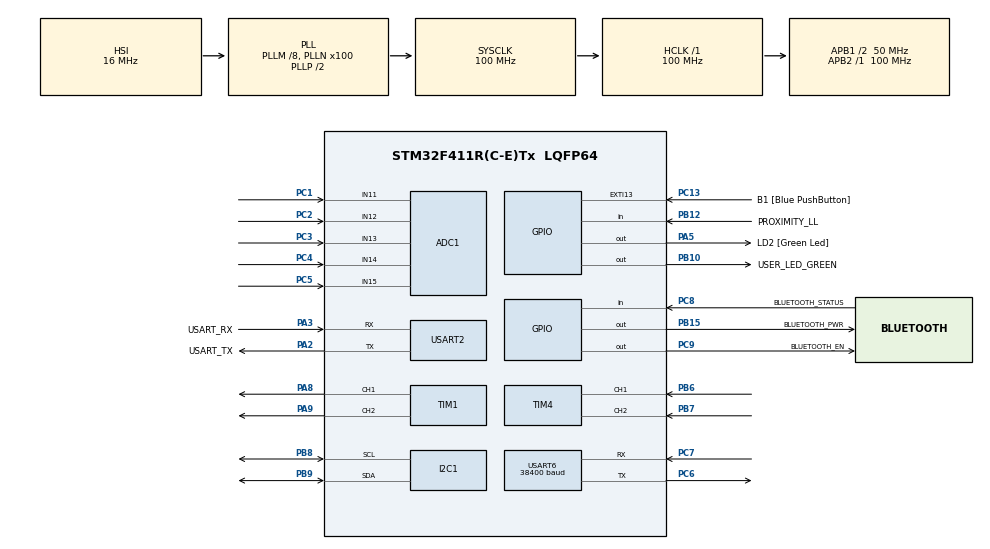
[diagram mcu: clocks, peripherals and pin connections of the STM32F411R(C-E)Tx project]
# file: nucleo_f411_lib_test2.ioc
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ADC1.Channel-0\#ChannelRegularConversion=ADC_CHANNEL_11
ADC1.Channel-1\#ChannelRegularConversion=ADC_CHANNEL_12
ADC1.Channel-2\#ChannelRegularConversion=ADC_CHANNEL_13
ADC1.Channel-3\#ChannelRegularConversion=ADC_CHANNEL_14
ADC1.Channel-4\#ChannelRegularConversion=ADC_CHANNEL_15
ADC1.Channel-5\#ChannelRegularConversion=ADC_CHANNEL_TEMPSENSOR
ADC1.ContinuousConvMode=ENABLE
ADC1.DMAContinuousRequests=ENABLE
ADC1.NbrOfConversion=6
ADC1.NbrOfConversionFlag=1
ADC1.Rank-0\#ChannelRegularConversion=1
ADC1.Rank-1\#ChannelRegularConversion=2
ADC1.Rank-2\#ChannelRegularConversion=3
ADC1.Rank-3\#ChannelRegularConversion=4
ADC1.Rank-4\#ChannelRegularConversion=5
ADC1.Rank-5\#ChannelRegularConversion=6
ADC1.SamplingTime-0\#ChannelRegularConversion=ADC_SAMPLETIME_84CYCLES
ADC1.SamplingTime-1\#ChannelRegularConversion=ADC_SAMPLETIME_84CYCLES
ADC1.SamplingTime-2\#ChannelRegularConversion=ADC_SAMPLETIME_84CYCLES
ADC1.SamplingTime-3\#ChannelRegularConversion=ADC_SAMPLETIME_84CYCLES
ADC1.SamplingTime-4\#ChannelRegularConversion=ADC_SAMPLETIME_84CYCLES
ADC1.SamplingTime-5\#ChannelRegularConversion=ADC_SAMPLETIME_480CYCLES
ADC1.ScanConvMode=ENABLE
ADC1.master=1
Dma.ADC1.0.Direction=DMA_PERIPH_TO_MEMORY
Dma.ADC1.0.FIFOMode=DMA_FIFOMODE_DISABLE
Dma.ADC1.0.Instance=DMA2_Stream0
Dma.ADC1.0.MemDataAlignment=DMA_MDATAALIGN_HALFWORD
Dma.ADC1.0.MemInc=DMA_MINC_ENABLE
Dma.ADC1.0.Mode=DMA_CIRCULAR
Dma.ADC1.0.PeriphDataAlignment=DMA_PDATAALIGN_HALFWORD
Dma.ADC1.0.PeriphInc=DMA_PINC_DISABLE
Dma.ADC1.0.Priority=DMA_PRIORITY_LOW
Dma.Request0=ADC1
I2C1.I2C_Mode=I2C_Fast
Mcu.Family=STM32F4
Mcu.Name=STM32F411R(C-E)Tx
Mcu.Package=LQFP64
NVIC.DMA2_Stream0_IRQn=true\:0\:0\:false\:false\:true\:false\:true
NVIC.PriorityGroup=NVIC_PRIORITYGROUP_0
NVIC.TIM1_BRK_TIM9_IRQn=true\:0\:0\:false\:false\:true\:true\:true
NVIC.TIM1_TRG_COM_TIM11_IRQn=true\:0\:0\:false\:false\:true\:false\:true
NVIC.TIM1_UP_TIM10_IRQn=true\:0\:0\:false\:false\:true\:true\:true
NVIC.TimeBase=TIM1_TRG_COM_TIM11_IRQn
NVIC.TimeBaseIP=TIM11
NVIC.USART6_IRQn=true\:0\:0\:false\:false\:true\:true\:true
PA13.GPIO_Label=TMS
PA13.Mode=Serial_Wire
PA13.Signal=SYS_JTMS-SWDIO
PA14.GPIO_Label=TCK
PA14.Mode=Serial_Wire
PA14.Signal=SYS_JTCK-SWCLK
PA2.GPIO_Label=USART_TX
PA2.Mode=Asynchronous
PA2.Signal=USART2_TX
PA3.GPIO_Label=USART_RX
PA3.Mode=Asynchronous
PA3.Signal=USART2_RX
PA5.GPIO_Label=LD2 [Green Led]
PA5.Signal=GPIO_Output
PA8.Signal=S_TIM1_CH1
PA9.Signal=S_TIM1_CH2
PB10.GPIO_Label=USER_LED_GREEN
PB10.Signal=GPIO_Output
PB12.GPIO_Label=PROXIMITY_LL
PB12.Signal=GPIO_Input
PB15.GPIO_Label=BLUETOOTH_PWR
PB15.Signal=GPIO_Output
PB3.GPIO_Label=SWO
PB3.Signal=SYS_JTDO-SWO
PB6.Signal=S_TIM4_CH1
PB7.Signal=S_TIM4_CH2
PB8.Mode=I2C
PB8.Signal=I2C1_SCL
PB9.Mode=I2C
PB9.Signal=I2C1_SDA
PC1.Signal=ADCx_IN11
PC13-ANTI_TAMP.GPIO_Label=B1 [Blue PushButton]
PC13-ANTI_TAMP.GPIO_ModeDefaultEXTI=GPIO_MODE_IT_FALLING
PC13-ANTI_TAMP.Signal=GPXTI13
PC14-OSC32_IN.Mode=LSE-External-Oscillator
PC14-OSC32_IN.Signal=RCC_OSC32_IN
PC15-OSC32_OUT.Mode=LSE-External-Oscillator
PC15-OSC32_OUT.Signal=RCC_OSC32_OUT
PC2.Signal=ADCx_IN12
PC3.Signal=ADCx_IN13
PC4.Signal=ADCx_IN14
PC5.Signal=ADCx_IN15
PC6.Mode=Asynchronous
PC6.Signal=USART6_TX
PC7.Mode=Asynchronous
PC7.Signal=USART6_RX
PC8.GPIO_Label=BLUETOOTH_STATUS
PC8.Signal=GPIO_Input
PC9.GPIO_Label=BLUETOOTH_EN
PC9.Signal=GPIO_Output
PH0\ -\ OSC_IN.Mode=HSE-External-Clock-Source
PH0\ -\ OSC_IN.Signal=RCC_OSC_IN
PH1\ -\ OSC_OUT.Mode=HSE-External-Clock-Source
PH1\ -\ OSC_OUT.Signal=RCC_OSC_OUT
ProjectManager.HeapSize=0x200
ProjectManager.StackSize=0x400
ProjectManager.TargetToolchain=STM32CubeIDE
RCC.48MHZClocksFreq_Value=50000000
RCC.AHBFreq_Value=100000000
RCC.APB1CLKDivider=RCC_HCLK_DIV2
RCC.APB1Freq_Value=50000000
RCC.APB1TimFreq_Value=100000000
RCC.APB2Freq_Value=100000000
RCC.APB2TimFreq_Value=100000000
RCC.CortexFreq_Value=100000000
RCC.FLatency-AdvancedSettings=FLASH_LATENCY_3
RCC.HCLKFreq_Value=100000000
RCC.HSE_VALUE=8000000
RCC.HSI_VALUE=16000000
RCC.PLLM=8
RCC.PLLN=100
RCC.SYSCLKFreq_VALUE=100000000
RCC.SYSCLKSource=RCC_SYSCLKSOURCE_PLLCLK
RCC.VCOOutputFreq_Value=200000000
SH.ADCx_IN11.0=ADC1_IN11,IN11
SH.ADCx_IN12.0=ADC1_IN12,IN12
SH.ADCx_IN13.0=ADC1_IN13,IN13
SH.ADCx_IN14.0=ADC1_IN14,IN14
SH.ADCx_IN15.0=ADC1_IN15,IN15
SH.S_TIM1_CH1.0=TIM1_CH1,PWM Generation1 CH1
SH.S_TIM1_CH2.0=TIM1_CH2,PWM Generation2 CH2
SH.S_TIM4_CH1.0=TIM4_CH1,Encoder_Interface
SH.S_TIM4_CH2.0=TIM4_CH2,Encoder_Interface
TIM1.Channel-PWM\ Generation1\ CH1=TIM_CHANNEL_1
TIM1.Channel-PWM\ Generation2\ CH2=TIM_CHANNEL_2
TIM10.Channel=TIM_CHANNEL_1
TIM10.Period=10000
TIM10.Prescaler=2000
TIM4.EncoderMode=TIM_ENCODERMODE_TI12
TIM9.Channel-Output\ Compare1\ No\ Output=TIM_CHANNEL_1
TIM9.Period=10000
TIM9.Prescaler=1000
USART2.VirtualMode=VM_ASYNC
USART6.BaudRate=38400
USART6.VirtualMode=VM_ASYNC
VP_ADC1_TempSens_Input.Mode=IN-TempSens
VP_SYS_VS_tim11.Mode=TIM11
VP_TIM10_VS_ClockSourceINT.Mode=Enable_Timer
VP_TIM10_VS_no_output1.Mode=Output Compare1 No Output
VP_TIM9_VS_no_output1.Mode=Output Compare1 No Output
board=NUCLEO-F411RE

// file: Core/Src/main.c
/* USER CODE BEGIN Header */
/**
  ******************************************************************************
  * @file           : main.c
  * @brief          : Main program body
  ******************************************************************************
  * @attention
  *
  * <h2><center>&copy; Copyright (c) 2021 STMicroelectronics.
  * All rights reserved.</center></h2>
  *
  * This software component is licensed by ST under BSD 3-Clause license,
  * the "License"; You may not use this file except in compliance with the
  * License. You may obtain a copy of the License at:
  *                        opensource.org/licenses/BSD-3-Clause
  *
  ******************************************************************************
  */
/* USER CODE END Header */
#include "main.h"
#include "adc.h"
#include "dma.h"
#include "i2c.h"
#include "tim.h"
#include "usart.h"
#include "gpio.h"

/* USER CODE BEGIN Includes */

#include "uart.h"
#include "bluetooth.h"

/* USER CODE END Includes */

void SystemClock_Config(void);
/* USER CODE BEGIN PFP */

Bluetooth_t bluetooth;

/* USER CODE END PFP */

int main(void)
{

  /* MCU Configuration--------------------------------------------------------*/

  /* Reset of all peripherals, Initializes the Flash interface and the Systick. */
  HAL_Init();

  /* Configure the system clock */
  SystemClock_Config();

  /* Initialize all configured peripherals */
  MX_GPIO_Init();
  MX_DMA_Init();
  MX_USART2_UART_Init();
  MX_I2C1_Init();
  MX_TIM1_Init();
  MX_TIM4_Init();
  MX_ADC1_Init();
  MX_USART6_UART_Init();
  MX_TIM10_Init();
  MX_TIM9_Init();
  /* USER CODE BEGIN 2 */

  UART_SetSTDIN(&huart2);
  UART_SetSTDOUT(&huart2);

  /*printf("\n");
  uint8_t address = 0x00;
  for(uint16_t i=0; i<256; i++) {
	if(HAL_I2C_IsDeviceReady(&hi2c1, i, 1, 10)==HAL_OK) {
		address = i;
		printf("Found I2C device at: 0x%2X\n", address);
	}
  }*/

  Bluetooth_Init(&bluetooth, &huart6, BLUETOOTH_EN_GPIO_Port, BLUETOOTH_EN_Pin, BLUETOOTH_STATUS_GPIO_Port, BLUETOOTH_STATUS_Pin);

  printf("\n");

  /* USER CODE END 2 */

  /* Infinite loop */
  /* USER CODE BEGIN WHILE */

  while(1) {

	  printf("(m - menu)$ ");
	  char buffer[10] = {0};
	  scanf("%s[^\n]", buffer);

	  switch(buffer[0]) {
	  	  case 'c': HAL_GPIO_WritePin(LD2_GPIO_Port, LD2_Pin, GPIO_PIN_SET); break;
	  	  case 'd': HAL_GPIO_WritePin(LD2_GPIO_Port, LD2_Pin, GPIO_PIN_RESET); break;
	  	  case 'v': {
				Bluetooth_Config_t config = {0};

				printf("BT name: ");
				scanf("%s[^\n]", config.name);

				printf("BT pass: ");
				scanf("%s[^\n]", config.password);

				config.baudrate = BLUETOOTH_BAUDRATE_38400;

				printf("status: %s\n", Bluetooth_SetConfig(&bluetooth, config)==HAL_OK ? "Success" : "Failure");
	  	  } break;
	  	  case 'm': {
	  		printf("\nMenu:\n\
c - turn on led\n\
d - turn off led\n\
v - set bluetooth config\n\
m - show menu\n\
	  			\n");
	  	  } break;
	  	  default: printf("Incorrect input\n"); break;
	  }

	  //gui.temperature = SNEAK100_Memory_ReadFloat(MEMORY_ADDRESS_VALUE);

    /* USER CODE END WHILE */

  }
}

void SystemClock_Config(void)
{
  RCC_OscInitTypeDef RCC_OscInitStruct = {0};
  RCC_ClkInitTypeDef RCC_ClkInitStruct = {0};

  /** Configure the main internal regulator output voltage
  */
  __HAL_RCC_PWR_CLK_ENABLE();
  __HAL_PWR_VOLTAGESCALING_CONFIG(PWR_REGULATOR_VOLTAGE_SCALE1);
  /** Initializes the RCC Oscillators according to the specified parameters
  * in the RCC_OscInitTypeDef structure.
  */
  RCC_OscInitStruct.OscillatorType = RCC_OSCILLATORTYPE_HSI;
  RCC_OscInitStruct.HSIState = RCC_HSI_ON;
  RCC_OscInitStruct.HSICalibrationValue = RCC_HSICALIBRATION_DEFAULT;
  RCC_OscInitStruct.PLL.PLLState = RCC_PLL_ON;
  RCC_OscInitStruct.PLL.PLLSource = RCC_PLLSOURCE_HSI;
  RCC_OscInitStruct.PLL.PLLM = 8;
  RCC_OscInitStruct.PLL.PLLN = 100;
  RCC_OscInitStruct.PLL.PLLP = RCC_PLLP_DIV2;
  RCC_OscInitStruct.PLL.PLLQ = 4;
  if (HAL_RCC_OscConfig(&RCC_OscInitStruct) != HAL_OK)
  {
    Error_Handler();
  }
  /** Initializes the CPU, AHB and APB buses clocks
  */
  RCC_ClkInitStruct.ClockType = RCC_CLOCKTYPE_HCLK|RCC_CLOCKTYPE_SYSCLK
                              |RCC_CLOCKTYPE_PCLK1|RCC_CLOCKTYPE_PCLK2;
  RCC_ClkInitStruct.SYSCLKSource = RCC_SYSCLKSOURCE_PLLCLK;
  RCC_ClkInitStruct.AHBCLKDivider = RCC_SYSCLK_DIV1;
  RCC_ClkInitStruct.APB1CLKDivider = RCC_HCLK_DIV2;
  RCC_ClkInitStruct.APB2CLKDivider = RCC_HCLK_DIV1;

  if (HAL_RCC_ClockConfig(&RCC_ClkInitStruct, FLASH_LATENCY_3) != HAL_OK)
  {
    Error_Handler();
  }
}

/* USER CODE BEGIN 4 */

void HAL_UART_RxCpltCallback(UART_HandleTypeDef *huart) {
	Bluetooth_RxCpltCallback(&bluetooth, huart);
}

/* USER CODE END 4 */

 /**
  * @brief  Period elapsed callback in non blocking mode
  * @note   This function is called  when TIM11 interrupt took place, inside
  * HAL_TIM_IRQHandler(). It makes a direct call to HAL_IncTick() to increment
  * a global variable "uwTick" used as application time base.
  * @param  htim : TIM handle
  * @retval None
  */
void HAL_TIM_PeriodElapsedCallback(TIM_HandleTypeDef *htim)
{
  /* USER CODE BEGIN Callback 0 */

	if(htim->Instance==TIM9) {

	}

	if(htim->Instance==TIM10) {

	}

  /* USER CODE END Callback 0 */
  if (htim->Instance == TIM11) {
    HAL_IncTick();
  }
}

void Error_Handler(void)
{
  /* USER CODE BEGIN Error_Handler_Debug */
  /* User can add his own implementation to report the HAL error return state */
  //__disable_irq();

  printf("Enter error handler!\n");

  while(1) {
	  HAL_GPIO_TogglePin(LD2_GPIO_Port, LD2_Pin);
	  HAL_Delay(100);
  }
  /* USER CODE END Error_Handler_Debug */
}

/************************ (C) COPYRIGHT STMicroelectronics *****END OF FILE****/
